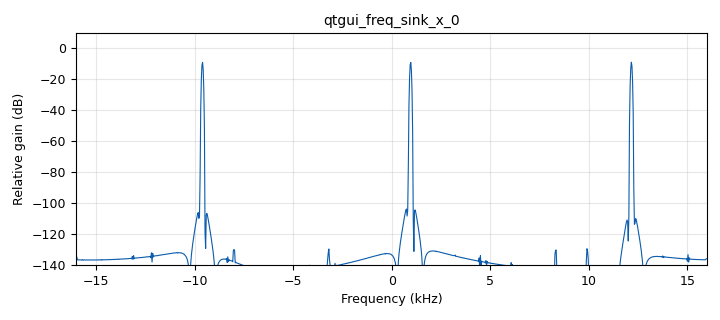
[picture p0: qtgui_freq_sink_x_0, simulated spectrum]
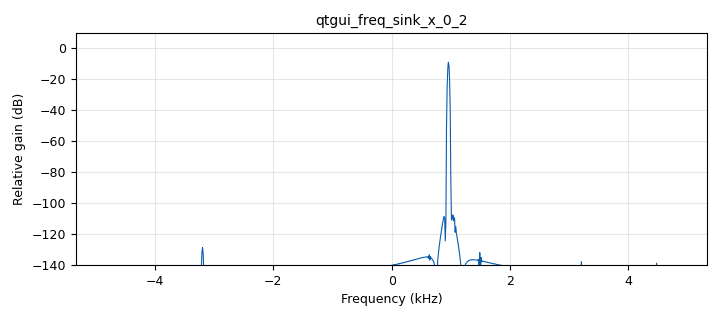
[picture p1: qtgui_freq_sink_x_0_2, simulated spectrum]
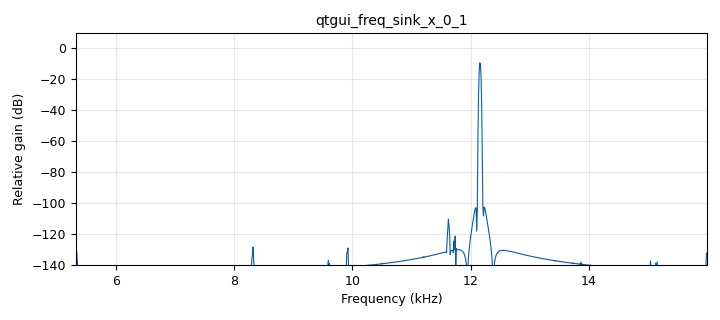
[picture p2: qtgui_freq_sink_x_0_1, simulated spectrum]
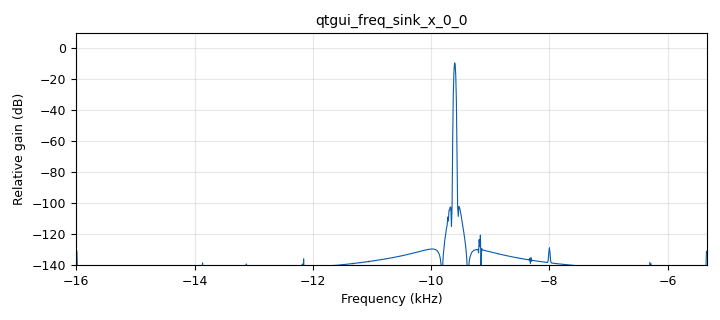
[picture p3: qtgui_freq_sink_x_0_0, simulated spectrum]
<?xml version='1.0' encoding='utf-8'?>
<?grc format='1' created='3.7.6'?>
<flow_graph>
<block>
<key>qtgui_freq_sink_x</key>
<param><key>id</key><value>qtgui_freq_sink_x_0</value></param>
<param><key>type</key><value>complex</value></param>
<param><key>name</key><value></value></param>
<param><key>fftsize</key><value>1024</value></param>
<param><key>wintype</key><value>firdes.WIN_BLACKMAN_hARRIS</value></param>
<param><key>fc</key><value>0</value></param>
<param><key>bw</key><value>samp_rate</value></param>
<param><key>showports</key><value>True</value></param>
</block>
<block>
<key>variable</key>
<param><key>id</key><value>samp_rate</value></param>
<param><key>value</key><value>32000</value></param>
</block>
<block>
<key>pfb_channelizer_hier_ccf</key>
<param><key>id</key><value>pfb_channelizer_hier_ccf_0</value></param>
<param><key>n_filterbanks</key><value>4</value></param>
<param><key>taps</key><value>None</value></param>
<param><key>outchans</key><value>None</value></param>
<param><key>atten</key><value>100</value></param>
<param><key>bw</key><value>0.6</value></param>
<param><key>tb</key><value>0.2</value></param>
<param><key>ripple</key><value>0.1</value></param>
</block>
<block>
<key>qtgui_freq_sink_x</key>
<param><key>id</key><value>qtgui_freq_sink_x_0_2</value></param>
<param><key>type</key><value>complex</value></param>
<param><key>name</key><value></value></param>
<param><key>fftsize</key><value>1024</value></param>
<param><key>wintype</key><value>firdes.WIN_BLACKMAN_hARRIS</value></param>
<param><key>fc</key><value>0</value></param>
<param><key>bw</key><value>samp_rate/3.0</value></param>
<param><key>showports</key><value>True</value></param>
</block>
<block>
<key>qtgui_freq_sink_x</key>
<param><key>id</key><value>qtgui_freq_sink_x_0_1</value></param>
<param><key>type</key><value>complex</value></param>
<param><key>name</key><value></value></param>
<param><key>fftsize</key><value>1024</value></param>
<param><key>wintype</key><value>firdes.WIN_BLACKMAN_hARRIS</value></param>
<param><key>fc</key><value>samp_rate/3.0</value></param>
<param><key>bw</key><value>samp_rate/3.0</value></param>
<param><key>showports</key><value>True</value></param>
</block>
<block>
<key>qtgui_freq_sink_x</key>
<param><key>id</key><value>qtgui_freq_sink_x_0_0</value></param>
<param><key>type</key><value>complex</value></param>
<param><key>name</key><value></value></param>
<param><key>fftsize</key><value>1024</value></param>
<param><key>wintype</key><value>firdes.WIN_BLACKMAN_hARRIS</value></param>
<param><key>fc</key><value>-samp_rate/3.0</value></param>
<param><key>bw</key><value>samp_rate/3.0</value></param>
<param><key>showports</key><value>True</value></param>
</block>
<block>
<key>analog_sig_source_x</key>
<param><key>id</key><value>analog_sig_source_x_2</value></param>
<param><key>type</key><value>complex</value></param>
<param><key>samp_rate</key><value>samp_rate</value></param>
<param><key>waveform</key><value>analog.GR_COS_WAVE</value></param>
<param><key>freq</key><value>0.70*samp_rate</value></param>
<param><key>amp</key><value>1</value></param>
<param><key>offset</key><value>0</value></param>
</block>
<block>
<key>blocks_throttle</key>
<param><key>id</key><value>blocks_throttle_0</value></param>
<param><key>type</key><value>complex</value></param>
<param><key>samples_per_second</key><value>samp_rate</value></param>
</block>
<block>
<key>analog_sig_source_x</key>
<param><key>id</key><value>analog_sig_source_x_0</value></param>
<param><key>type</key><value>complex</value></param>
<param><key>samp_rate</key><value>samp_rate</value></param>
<param><key>waveform</key><value>analog.GR_COS_WAVE</value></param>
<param><key>freq</key><value>0.03 * samp_rate</value></param>
<param><key>amp</key><value>1</value></param>
<param><key>offset</key><value>0</value></param>
</block>
<block>
<key>blocks_throttle</key>
<param><key>id</key><value>blocks_throttle_0_1</value></param>
<param><key>type</key><value>complex</value></param>
<param><key>samples_per_second</key><value>samp_rate</value></param>
</block>
<block>
<key>blocks_add_xx</key>
<param><key>id</key><value>blocks_add_xx_0</value></param>
<param><key>type</key><value>complex</value></param>
<param><key>num_inputs</key><value>3</value></param>
</block>
<block>
<key>blocks_throttle</key>
<param><key>id</key><value>blocks_throttle_0_0</value></param>
<param><key>type</key><value>complex</value></param>
<param><key>samples_per_second</key><value>samp_rate</value></param>
</block>
<block>
<key>analog_sig_source_x</key>
<param><key>id</key><value>analog_sig_source_x_1</value></param>
<param><key>type</key><value>complex</value></param>
<param><key>samp_rate</key><value>samp_rate</value></param>
<param><key>waveform</key><value>analog.GR_COS_WAVE</value></param>
<param><key>freq</key><value>0.38 * samp_rate</value></param>
<param><key>amp</key><value>1</value></param>
<param><key>offset</key><value>0</value></param>
</block>
<block>
<key>options</key>
<param><key>id</key><value>channelizer_demo</value></param>
<param><key>generate_options</key><value>qt_gui</value></param>
<param><key>category</key><value>Custom</value></param>
</block>
<connection><source_block_id>blocks_add_xx_0</source_block_id><sink_block_id>pfb_channelizer_hier_ccf_0</sink_block_id><source_key>0</source_key><sink_key>0</sink_key></connection>
<connection><source_block_id>blocks_add_xx_0</source_block_id><sink_block_id>qtgui_freq_sink_x_0</sink_block_id><source_key>0</source_key><sink_key>0</sink_key></connection>
<connection><source_block_id>pfb_channelizer_hier_ccf_0</source_block_id><sink_block_id>qtgui_freq_sink_x_0_2</sink_block_id><source_key>0</source_key><sink_key>0</sink_key></connection>
<connection><source_block_id>pfb_channelizer_hier_ccf_0</source_block_id><sink_block_id>qtgui_freq_sink_x_0_1</sink_block_id><source_key>1</source_key><sink_key>0</sink_key></connection>
<connection><source_block_id>pfb_channelizer_hier_ccf_0</source_block_id><sink_block_id>qtgui_freq_sink_x_0_0</sink_block_id><source_key>2</source_key><sink_key>0</sink_key></connection>
<connection><source_block_id>analog_sig_source_x_2</source_block_id><sink_block_id>blocks_throttle_0</sink_block_id><source_key>0</source_key><sink_key>0</sink_key></connection>
<connection><source_block_id>blocks_throttle_0</source_block_id><sink_block_id>blocks_add_xx_0</sink_block_id><source_key>0</source_key><sink_key>2</sink_key></connection>
<connection><source_block_id>analog_sig_source_x_0</source_block_id><sink_block_id>blocks_throttle_0_1</sink_block_id><source_key>0</source_key><sink_key>0</sink_key></connection>
<connection><source_block_id>blocks_throttle_0_1</source_block_id><sink_block_id>blocks_add_xx_0</sink_block_id><source_key>0</source_key><sink_key>0</sink_key></connection>
<connection><source_block_id>blocks_throttle_0_0</source_block_id><sink_block_id>blocks_add_xx_0</sink_block_id><source_key>0</source_key><sink_key>1</sink_key></connection>
<connection><source_block_id>analog_sig_source_x_1</source_block_id><sink_block_id>blocks_throttle_0_0</sink_block_id><source_key>0</source_key><sink_key>0</sink_key></connection>
</flow_graph>
